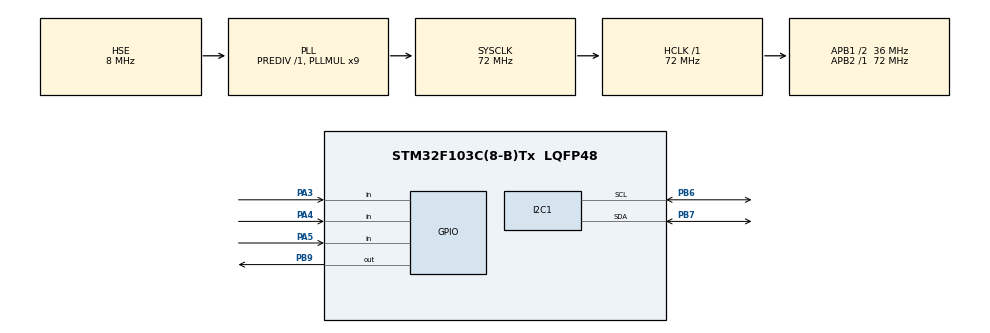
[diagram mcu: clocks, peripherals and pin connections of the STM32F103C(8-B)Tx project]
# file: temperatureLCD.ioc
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I2C1.I2C_Mode=I2C_Fast
Mcu.Family=STM32F1
Mcu.Name=STM32F103C(8-B)Tx
Mcu.Package=LQFP48
NVIC.PriorityGroup=NVIC_PRIORITYGROUP_4
PA13.Mode=Serial_Wire
PA13.Signal=SYS_JTMS-SWDIO
PA14.Mode=Serial_Wire
PA14.Signal=SYS_JTCK-SWCLK
PA3.Signal=GPIO_Input
PA4.Signal=GPIO_Input
PA5.Signal=GPIO_Input
PB6.Mode=I2C
PB6.Signal=I2C1_SCL
PB7.Mode=I2C
PB7.Signal=I2C1_SDA
PB9.Signal=GPIO_Output
PD0-OSC_IN.Mode=HSE-External-Oscillator
PD0-OSC_IN.Signal=RCC_OSC_IN
PD1-OSC_OUT.Mode=HSE-External-Oscillator
PD1-OSC_OUT.Signal=RCC_OSC_OUT
ProjectManager.HeapSize=0x200
ProjectManager.StackSize=0x400
ProjectManager.TargetToolchain=STM32CubeIDE
RCC.AHBFreq_Value=72000000
RCC.APB1CLKDivider=RCC_HCLK_DIV2
RCC.APB1Freq_Value=36000000
RCC.APB1TimFreq_Value=72000000
RCC.APB2Freq_Value=72000000
RCC.APB2TimFreq_Value=72000000
RCC.HCLKFreq_Value=72000000
RCC.PLLMUL=RCC_PLL_MUL9
RCC.PLLSourceVirtual=RCC_PLLSOURCE_HSE
RCC.SYSCLKFreq_VALUE=72000000
RCC.SYSCLKSource=RCC_SYSCLKSOURCE_PLLCLK
RCC.USBFreq_Value=72000000
TIM1.Prescaler=71
VP_TIM1_VS_ClockSourceINT.Mode=Internal
board=custom

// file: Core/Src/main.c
/* USER CODE BEGIN Header */
/**
  ******************************************************************************
  * @file           : main.c
  * @brief          : Minimal DHT11 -> OLED (Celsius only, centered + target)
  ******************************************************************************
  * @attention
  * Copyright (c) 2025 STMicroelectronics.
  * All rights reserved.
  ******************************************************************************
  */
/* USER CODE END Header */

#include "main.h"

/* USER CODE BEGIN Includes */
#include "fonts.h"
#include "ssd1306.h"
#include "stdio.h"
#include "string.h"
#include <stdbool.h>
#include <math.h>      // <-- added for proper rounding
/* USER CODE END Includes */

I2C_HandleTypeDef hi2c1;
TIM_HandleTypeDef htim1;

/* USER CODE BEGIN PV */
#define DHT11_PORT GPIOB
#define DHT11_PIN  GPIO_PIN_9

uint8_t RHI, RHD, TCI, TCD, SUM;
uint32_t pMillis, cMillis;

float tCelsius = 0.0f;
volatile int8_t temp_offset_c = 0;      // adjust via buttons
char strCopy[20];

// Tracks the latest measured real Celsius
static float g_lastRealC = 0.0f;

// Integer target setpoint and a flag indicating we've initialized it
static int16_t g_target_set_c = 0;
static bool    g_target_initialized = false;
/* USER CODE END PV */

void SystemClock_Config(void);
static void MX_GPIO_Init(void);
static void MX_I2C1_Init(void);
static void MX_TIM1_Init(void);

/* USER CODE BEGIN PFP */
static void microDelay(uint16_t us);
static uint8_t DHT11_Start(void);
static uint8_t DHT11_Read(void);
static void HandleButtons(void);
static void CalculateCelsius(void);
static void ShowDisplay(float realC, float targetC);
/* USER CODE END PFP */

/* USER CODE BEGIN 0 */
static int16_t first_setpoint_from(float c)
{
  float frac = c - floorf(c);
  int16_t base = (int16_t)floorf(c);
  if (frac > 0.5f) base += 1;   // strictly greater than .5 => round up
  return base;                  // returns an integer °C
}

static void microDelay (uint16_t us)
{
  __HAL_TIM_SET_COUNTER(&htim1, 0);
  while (__HAL_TIM_GET_COUNTER(&htim1) < us);
}

static uint8_t DHT11_Start (void)
{
  uint8_t Response = 0;
  GPIO_InitTypeDef GPIO_InitStruct = {0};

  // Drive line
  GPIO_InitStruct.Pin   = DHT11_PIN;
  GPIO_InitStruct.Mode  = GPIO_MODE_OUTPUT_PP;
  GPIO_InitStruct.Pull  = GPIO_NOPULL;
  GPIO_InitStruct.Speed = GPIO_SPEED_FREQ_LOW;
  HAL_GPIO_Init(DHT11_PORT, &GPIO_InitStruct);

  HAL_GPIO_WritePin(DHT11_PORT, DHT11_PIN, GPIO_PIN_RESET);
  HAL_Delay(20);
  HAL_GPIO_WritePin(DHT11_PORT, DHT11_PIN, GPIO_PIN_SET);
  microDelay(30);

  // Release line (input with pull-up)
  GPIO_InitStruct.Mode = GPIO_MODE_INPUT;
  GPIO_InitStruct.Pull = GPIO_PULLUP;
  HAL_GPIO_Init(DHT11_PORT, &GPIO_InitStruct);

  microDelay(40);
  if (!HAL_GPIO_ReadPin(DHT11_PORT, DHT11_PIN))
  {
    microDelay(80);
    if (HAL_GPIO_ReadPin(DHT11_PORT, DHT11_PIN)) Response = 1;
  }

  pMillis = HAL_GetTick();
  cMillis = HAL_GetTick();
  while (HAL_GPIO_ReadPin(DHT11_PORT, DHT11_PIN) && (pMillis + 2 > cMillis))
    cMillis = HAL_GetTick();

  return Response;
}

static uint8_t DHT11_Read (void)
{
  uint8_t a, b = 0;  // IMPORTANT: init to 0
  for (a = 0; a < 8; a++)
  {
    pMillis = HAL_GetTick();
    cMillis = HAL_GetTick();
    while (!HAL_GPIO_ReadPin(DHT11_PORT, DHT11_PIN) && (pMillis + 2 > cMillis))
      cMillis = HAL_GetTick();

    microDelay(40); // sample point ~40us

    if (!HAL_GPIO_ReadPin(DHT11_PORT, DHT11_PIN))
      b &= ~(1 << (7 - a));
    else
      b |=  (1 << (7 - a));

    pMillis = HAL_GetTick();
    cMillis = HAL_GetTick();
    while (HAL_GPIO_ReadPin(DHT11_PORT, DHT11_PIN) && (pMillis + 2 > cMillis))
      cMillis = HAL_GetTick();
  }
  return b;
}
static void HandleButtons(void)
{
  static GPIO_PinState prev3 = GPIO_PIN_SET; // -
  static GPIO_PinState prev4 = GPIO_PIN_SET; // +
  static GPIO_PinState prev5 = GPIO_PIN_SET; // reset

  GPIO_PinState cur3 = HAL_GPIO_ReadPin(GPIOA, GPIO_PIN_3);
  GPIO_PinState cur4 = HAL_GPIO_ReadPin(GPIOA, GPIO_PIN_4);
  GPIO_PinState cur5 = HAL_GPIO_ReadPin(GPIOA, GPIO_PIN_5);

  // --- Reset (PA5): forget initialization, next +/- will re-init
  if (prev5 == GPIO_PIN_SET && cur5 == GPIO_PIN_RESET) {
	  /*
    g_target_initialized = false;
    // keep the setpoint value or zero it; not required,
    // but you can uncomment the next line if you prefer:
    // g_target_set_c = 0;
    HAL_Delay(80);
  	  */
	    g_target_set_c      = first_setpoint_from(g_lastRealC); // 20.7 -> 21, 20.3 -> 20
	    g_target_initialized = true;                             // forces ".0" display
	    HAL_Delay(240);                                          // debounce

	    // Optional: immediate redraw so you don't wait for the 1 s DHT refresh:
	    ShowDisplay(g_lastRealC, (float)g_target_set_c);

  }

  // --- Decrement (PA3)
  if (prev3 == GPIO_PIN_SET && cur3 == GPIO_PIN_RESET) {
    if (!g_target_initialized) {
      g_target_set_c = first_setpoint_from(g_lastRealC);
      g_target_initialized = true;            // decimals flushed to .0 now
    } else {
      g_target_set_c -= 1;
    }
    HAL_Delay(120);
  }

  // --- Increment (PA4)
  if (prev4 == GPIO_PIN_SET && cur4 == GPIO_PIN_RESET) {
    if (!g_target_initialized) {
      g_target_set_c = first_setpoint_from(g_lastRealC);
      g_target_initialized = true;            // decimals flushed to .0 now
    } else {
      g_target_set_c += 1;
    }
    HAL_Delay(120);
  }

  prev3 = cur3;
  prev4 = cur4;
  prev5 = cur5;
}

/* -------- helper: format one-decimal with proper rounding ---------- */
static void format_temp_1dp(float c, int *ip, int *dp)
{
  // round to nearest 0.1 °C
  int n = (int)lroundf(c * 10.0f);   // e.g. 23.94 -> 239 -> 24.0
  *ip = n / 10;                      // integer part (handles negatives)
  int frac = n % 10;                 // signed remainder
  if (frac < 0) frac = -frac;
  *dp = frac;
}

static void CalculateCelsius(void)
{
  float realC = (float)TCI + (float)TCD / 10.0f;  // sensor value
  g_lastRealC = realC;

  // targetC shown: if initialized, use integer setpoint (.0)
  // otherwise show the real temp (no snap yet)
  float targetC = g_target_initialized ? (float)g_target_set_c : realC;

  // keep your existing tCelsius if you use it elsewhere
  tCelsius = targetC;

  ShowDisplay(realC, targetC);
}

/* Draw realC centered (big font) and targetC at bottom-left (small font) */

static void ShowDisplay(float realC, float targetC)
{
  #ifdef Font_6x8
    FontDef_t *Small = &Font_6x8;
  #else
    FontDef_t *Small = &Font_7x10;
  #endif
  FontDef_t *Big   = &Font_16x26;

  char realStr[20];
  char targetStr[24];

  int ri, rd, ti, td;
  format_temp_1dp(realC, &ri, &rd);

  // If initialized, we *always* show integer + ".0"
  if (g_target_initialized) {
    ti = (int)g_target_set_c;
    td = 0;
  } else {
    format_temp_1dp(targetC, &ti, &td);
  }

  snprintf(realStr,   sizeof(realStr),   "%d.%d C", ri, rd);
  snprintf(targetStr, sizeof(targetStr), "Target: %d.%d C", ti, td);

  uint16_t realW = (uint16_t)(strlen(realStr) * Big->FontWidth);
  uint16_t realH = Big->FontHeight;
  int16_t  rx = (int16_t)((128 - realW) / 2);
  int16_t  ry = (int16_t)((64  - realH) / 2);
  if (rx < 0) rx = 0;

  int16_t tx = 0;
  int16_t ty = (int16_t)(64 - Small->FontHeight - 2);
  if (ty < 0) ty = 0;

  SSD1306_Fill(SSD1306_COLOR_BLACK);
  SSD1306_GotoXY(rx, ry);
  SSD1306_Puts(realStr, Big, SSD1306_COLOR_WHITE);
  SSD1306_GotoXY(tx, ty);
  SSD1306_Puts(targetStr, Small, SSD1306_COLOR_WHITE);
  SSD1306_UpdateScreen();
}

/* USER CODE END 0 */

/* ============================== main ============================== */
int main(void)
{
  HAL_Init();
  SystemClock_Config();
  MX_GPIO_Init();
  MX_I2C1_Init();
  MX_TIM1_Init();

  HAL_TIM_Base_Start(&htim1);
  SSD1306_Init();

  uint32_t lastDhtMs = 0;   // throttle DHT11 to ~1 Hz

  while (1)
  {
    HandleButtons();

    uint32_t now = HAL_GetTick();
    if (now - lastDhtMs >= 1000) {
      lastDhtMs = now;

      if (DHT11_Start())
      {
        RHI = DHT11_Read();
        RHD = DHT11_Read();
        TCI = DHT11_Read();
        TCD = DHT11_Read();
        SUM = DHT11_Read();

        if ((uint8_t)(RHI + RHD + TCI + TCD) == SUM)
        {
          CalculateCelsius();
        }
        // else: keep last good reading on screen
      }
    }

    HAL_Delay(20);
  }
}

/* --------- Boilerplate init code below (unchanged) --------- */
void SystemClock_Config(void)
{
  RCC_OscInitTypeDef RCC_OscInitStruct = {0};
  RCC_ClkInitTypeDef RCC_ClkInitStruct = {0};

  RCC_OscInitStruct.OscillatorType = RCC_OSCILLATORTYPE_HSE;
  RCC_OscInitStruct.HSEState = RCC_HSE_ON;
  RCC_OscInitStruct.HSEPredivValue = RCC_HSE_PREDIV_DIV1;
  RCC_OscInitStruct.HSIState = RCC_HSI_ON;
  RCC_OscInitStruct.PLL.PLLState = RCC_PLL_ON;
  RCC_OscInitStruct.PLL.PLLSource = RCC_PLLSOURCE_HSE;
  RCC_OscInitStruct.PLL.PLLMUL = RCC_PLL_MUL9;
  if (HAL_RCC_OscConfig(&RCC_OscInitStruct) != HAL_OK) { Error_Handler(); }

  RCC_ClkInitStruct.ClockType = RCC_CLOCKTYPE_HCLK|RCC_CLOCKTYPE_SYSCLK
                              |RCC_CLOCKTYPE_PCLK1|RCC_CLOCKTYPE_PCLK2;
  RCC_ClkInitStruct.SYSCLKSource = RCC_SYSCLKSOURCE_PLLCLK;
  RCC_ClkInitStruct.AHBCLKDivider = RCC_SYSCLK_DIV1;
  RCC_ClkInitStruct.APB1CLKDivider = RCC_HCLK_DIV2;
  RCC_ClkInitStruct.APB2CLKDivider = RCC_HCLK_DIV1;
  if (HAL_RCC_ClockConfig(&RCC_ClkInitStruct, FLASH_LATENCY_2) != HAL_OK) { Error_Handler(); }
}

static void MX_I2C1_Init(void)
{
  hi2c1.Instance = I2C1;
  hi2c1.Init.ClockSpeed = 400000;
  hi2c1.Init.DutyCycle = I2C_DUTYCYCLE_2;
  hi2c1.Init.OwnAddress1 = 0;
  hi2c1.Init.AddressingMode = I2C_ADDRESSINGMODE_7BIT;
  hi2c1.Init.DualAddressMode = I2C_DUALADDRESS_DISABLE;
  hi2c1.Init.OwnAddress2 = 0;
  hi2c1.Init.GeneralCallMode = I2C_GENERALCALL_DISABLE;
  hi2c1.Init.NoStretchMode = I2C_NOSTRETCH_DISABLE;
  if (HAL_I2C_Init(&hi2c1) != HAL_OK) { Error_Handler(); }
}

static void MX_TIM1_Init(void)
{
  TIM_ClockConfigTypeDef sClockSourceConfig = {0};
  TIM_MasterConfigTypeDef sMasterConfig = {0};

  htim1.Instance = TIM1;
  htim1.Init.Prescaler = 71;                 // 72MHz/(71+1)=1MHz -> 1us tick
  htim1.Init.CounterMode = TIM_COUNTERMODE_UP;
  htim1.Init.Period = 65535;
  htim1.Init.ClockDivision = TIM_CLOCKDIVISION_DIV1;
  htim1.Init.RepetitionCounter = 0;
  htim1.Init.AutoReloadPreload = TIM_AUTORELOAD_PRELOAD_DISABLE;
  if (HAL_TIM_Base_Init(&htim1) != HAL_OK) { Error_Handler(); }
  sClockSourceConfig.ClockSource = TIM_CLOCKSOURCE_INTERNAL;
  if (HAL_TIM_ConfigClockSource(&htim1, &sClockSourceConfig) != HAL_OK) { Error_Handler(); }
  sMasterConfig.MasterOutputTrigger = TIM_TRGO_RESET;
  sMasterConfig.MasterSlaveMode = TIM_MASTERSLAVEMODE_DISABLE;
  if (HAL_TIMEx_MasterConfigSynchronization(&htim1, &sMasterConfig) != HAL_OK) { Error_Handler(); }
}

static void MX_GPIO_Init(void)
{
  GPIO_InitTypeDef GPIO_InitStruct = {0};
  __HAL_RCC_GPIOD_CLK_ENABLE();
  __HAL_RCC_GPIOA_CLK_ENABLE();
  __HAL_RCC_GPIOB_CLK_ENABLE();

  /* DHT11 PB9 default level */
  HAL_GPIO_WritePin(GPIOB, GPIO_PIN_9, GPIO_PIN_RESET);

  /* Buttons PA3, PA4, PA5: input with pull-up (pressed = LOW) */
  GPIO_InitStruct.Pin  = GPIO_PIN_3 | GPIO_PIN_4 | GPIO_PIN_5;
  GPIO_InitStruct.Mode = GPIO_MODE_INPUT;
  GPIO_InitStruct.Pull = GPIO_PULLUP;
  HAL_GPIO_Init(GPIOA, &GPIO_InitStruct);

  /* PB9 as output (reconfigured inside DHT11_Start as needed) */
  GPIO_InitStruct.Pin   = GPIO_PIN_9;
  GPIO_InitStruct.Mode  = GPIO_MODE_OUTPUT_PP;
  GPIO_InitStruct.Pull  = GPIO_NOPULL;
  GPIO_InitStruct.Speed = GPIO_SPEED_FREQ_LOW;
  HAL_GPIO_Init(GPIOB, &GPIO_InitStruct);
}

void Error_Handler(void)
{
  __disable_irq();
  while (1) { }
}
